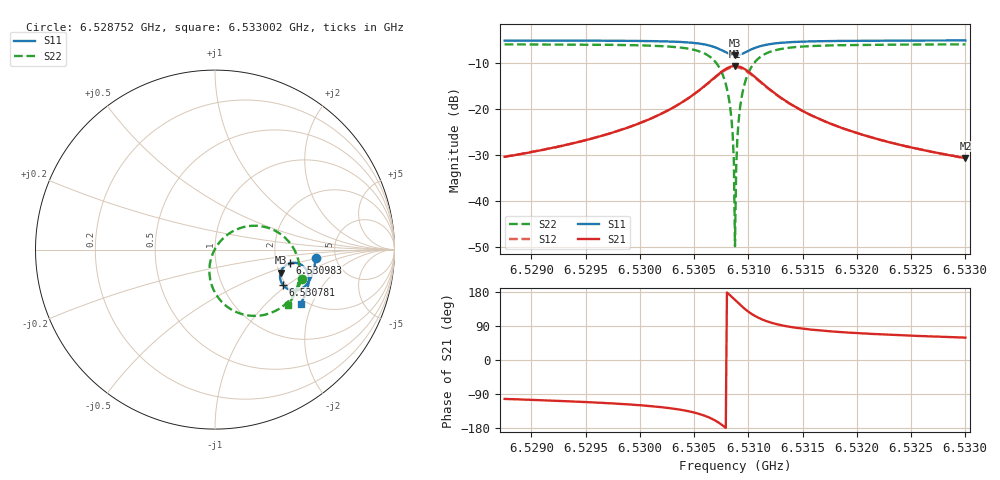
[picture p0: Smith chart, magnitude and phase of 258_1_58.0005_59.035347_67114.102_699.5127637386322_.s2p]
#  HZ  S  RI  R  50.00
! Rohde & Schwarz Vector Network Analyzer
! Rohde-Schwarz,ZNB20-2Port,1311601062101988,3.16
! Created: UTC 3/21/2024, 1:01:51 AM
! freq[Hz]  re:S11  im:S11  re:S21  im:S21  re:S12  im:S12  re:S22  im:S22
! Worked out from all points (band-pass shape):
!   401 points, 6.528752 GHz to 6.533002 GHz, reference 50 ohm
!   highest |S21| = -10.54 dB at 6.530877 GHz (marker M1); lowest = -30.7 dB at 6.533002 GHz (marker M2)
!   |S21| within 3 dB of the highest: 6.530665 GHz to 6.53109 GHz (425.3 kHz wide, 0.00651 % of centre)
!   lowest |S11| = -8.2 dB at 6.530877 GHz (marker M3), VSWR 2.26, Z = 101 - j30.7 ohm
!   |S11| at or under -10 dB: nowhere
!   |S22| runs from -49.9 to -5.8 dB; largest |S21 - S12| = 0.012
!   S11 on the Smith chart (normalised r, x): 6.528752 GHz: 3.50, -0.48; 6.530781 GHz: 1.92, -0.92; 6.530983 GHz: 2.38, -0.44; 6.533002 GHz: 1.87, -1.65
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6.528752e9  0.5602 -0.0466  -0.00662 -0.0295  -0.00734 -0.0293  0.4837 -0.1651
6.5294638e9  0.5512 -0.1057  -0.0157 -0.042  -0.0167 -0.0416  0.4533 -0.2295
6.5301756e9  0.5244 -0.1757  -0.0483 -0.072  -0.0503 -0.0707  0.3735 -0.3189
6.5306006e9  0.4555 -0.2263  -0.1527 -0.0976  -0.1551 -0.0913  0.1729 -0.3649
6.5307069e9  0.4118 -0.2221  -0.2204 -0.0722  -0.2197 -0.063  0.0589 -0.3111
6.5307812e9  0.3776 -0.196  -0.2702 -0.0154  -0.2649 -0.0059  -0.0151 -0.207
6.5308131e9  0.3671 -0.1765  -0.2834 0.022  -0.2758 0.0303  -0.0302 -0.1427
6.5308343e9  0.3631 -0.1613  -0.2867 0.0502  -0.2779 0.0574  -0.0304 -0.0955
6.530845e9  0.3622 -0.1533  -0.2864 0.0649  -0.2768 0.0713  -0.0272 -0.0716
6.5308556e9  0.3624 -0.1451  -0.2846 0.0797  -0.2746 0.0853  -0.0214 -0.0476
6.5308662e9  0.3634 -0.1369  -0.2813 0.0944  -0.271 0.099  -0.0133 -0.0241
6.5308768e9  0.3653 -0.1286  -0.2764 0.1089  -0.2661 0.1124  -0.00282 -0.00148
6.5308875e9  0.368 -0.1208  -0.2703 0.1227  -0.2599 0.1254  0.00988 0.0199
6.5308981e9  0.3716 -0.1133  -0.2628 0.1359  -0.2524 0.1376  0.0244 0.0399
6.5309087e9  0.3758 -0.1063  -0.2541 0.148  -0.244 0.149  0.0409 0.0582
6.53093e9  0.3863 -0.0941  -0.2339 0.1693  -0.2244 0.1687  0.0777 0.0891
6.5309831e9  0.4183 -0.0759  -0.1755 0.2005  -0.1688 0.1977  0.1794 0.1297
6.5310574e9  0.46 -0.0758  -0.1024 0.2027  -0.0988 0.1999  0.3018 0.1191
6.5311637e9  0.4964 -0.0975  -0.0395 0.1728  -0.0378 0.1713  0.403 0.0535
6.5315887e9  0.5223 -0.1764  0.0149 0.0836  0.016 0.0834  0.4717 -0.1338
6.5323005e9  0.5038 -0.2484  0.0172 0.04  0.018 0.0397  0.4426 -0.2481
6.5330017e9  0.4772 -0.3007  0.015 0.0251  0.0155 0.0248  0.4073 -0.3083
